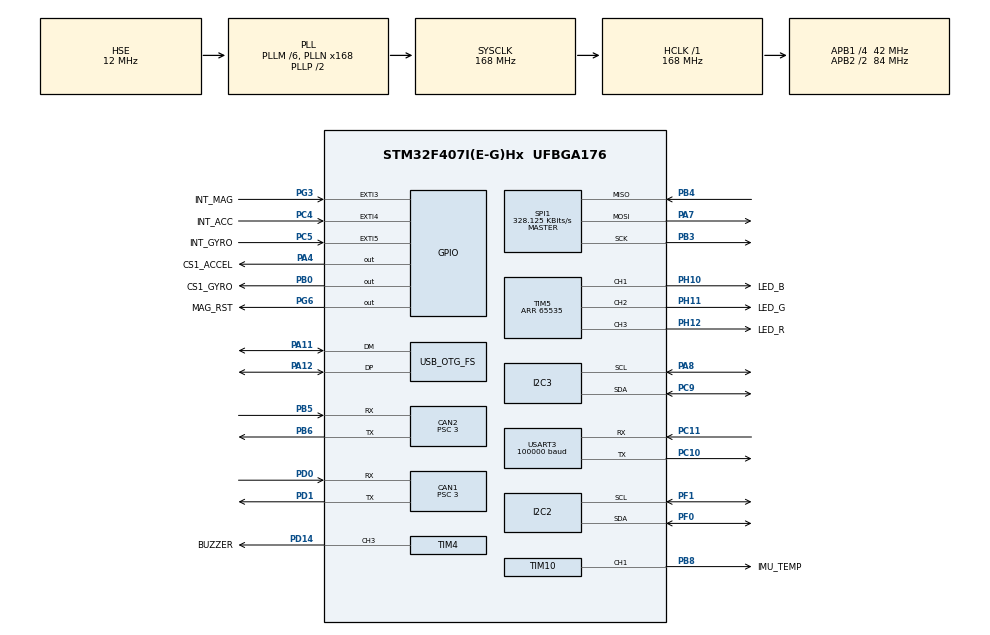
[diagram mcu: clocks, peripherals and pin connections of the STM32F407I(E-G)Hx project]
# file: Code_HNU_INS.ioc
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CAN1.BS1=CAN_BS1_10TQ
CAN1.BS2=CAN_BS2_3TQ
CAN1.CalculateBaudRate=1000000
CAN1.CalculateTimeBit=1000
CAN1.CalculateTimeQuantum=71.42857142857143
CAN1.Prescaler=3
CAN1.TXFP=ENABLE
CAN2.BS1=CAN_BS1_10TQ
CAN2.BS2=CAN_BS2_3TQ
CAN2.CalculateBaudRate=1000000
CAN2.CalculateTimeBit=1000
CAN2.CalculateTimeQuantum=71.42857142857143
CAN2.Prescaler=3
CAN2.TXFP=ENABLE
Dma.Request0=SPI1_RX
Dma.Request1=SPI1_TX
Dma.Request2=USART3_RX
Dma.SPI1_RX.0.Direction=DMA_PERIPH_TO_MEMORY
Dma.SPI1_RX.0.FIFOMode=DMA_FIFOMODE_DISABLE
Dma.SPI1_RX.0.Instance=DMA2_Stream2
Dma.SPI1_RX.0.MemDataAlignment=DMA_MDATAALIGN_BYTE
Dma.SPI1_RX.0.MemInc=DMA_MINC_ENABLE
Dma.SPI1_RX.0.Mode=DMA_NORMAL
Dma.SPI1_RX.0.PeriphDataAlignment=DMA_PDATAALIGN_BYTE
Dma.SPI1_RX.0.PeriphInc=DMA_PINC_DISABLE
Dma.SPI1_RX.0.Priority=DMA_PRIORITY_VERY_HIGH
Dma.SPI1_TX.1.Direction=DMA_MEMORY_TO_PERIPH
Dma.SPI1_TX.1.FIFOMode=DMA_FIFOMODE_DISABLE
Dma.SPI1_TX.1.Instance=DMA2_Stream3
Dma.SPI1_TX.1.MemDataAlignment=DMA_MDATAALIGN_BYTE
Dma.SPI1_TX.1.MemInc=DMA_MINC_ENABLE
Dma.SPI1_TX.1.Mode=DMA_NORMAL
Dma.SPI1_TX.1.PeriphDataAlignment=DMA_PDATAALIGN_BYTE
Dma.SPI1_TX.1.PeriphInc=DMA_PINC_DISABLE
Dma.SPI1_TX.1.Priority=DMA_PRIORITY_HIGH
Dma.USART3_RX.2.Direction=DMA_PERIPH_TO_MEMORY
Dma.USART3_RX.2.FIFOMode=DMA_FIFOMODE_DISABLE
Dma.USART3_RX.2.Instance=DMA1_Stream1
Dma.USART3_RX.2.MemDataAlignment=DMA_MDATAALIGN_BYTE
Dma.USART3_RX.2.MemInc=DMA_MINC_ENABLE
Dma.USART3_RX.2.Mode=DMA_NORMAL
Dma.USART3_RX.2.PeriphDataAlignment=DMA_PDATAALIGN_BYTE
Dma.USART3_RX.2.PeriphInc=DMA_PINC_DISABLE
Dma.USART3_RX.2.Priority=DMA_PRIORITY_LOW
FREERTOS.Tasks01=defaultTask,0,128,StartDefaultTask,Default,NULL,Dynamic,NULL,NULL
I2C2.I2C_Mode=I2C_Fast
I2C3.I2C_Mode=I2C_Fast
Mcu.Family=STM32F4
Mcu.Name=STM32F407I(E-G)Hx
Mcu.Package=UFBGA176
NVIC.CAN1_RX0_IRQn=true\:5\:0\:false\:false\:true\:true\:true\:true\:true
NVIC.CAN1_RX1_IRQn=true\:5\:0\:false\:false\:true\:true\:true\:true\:true
NVIC.CAN2_RX0_IRQn=true\:5\:0\:false\:false\:true\:true\:true\:true\:true
NVIC.CAN2_RX1_IRQn=true\:5\:0\:false\:false\:true\:true\:true\:true\:true
NVIC.DMA1_Stream1_IRQn=true\:5\:0\:false\:false\:true\:true\:false\:true\:true
NVIC.DMA2_Stream2_IRQn=true\:5\:0\:false\:false\:true\:true\:false\:true\:true
NVIC.DMA2_Stream3_IRQn=true\:5\:0\:false\:false\:true\:true\:false\:true\:true
NVIC.EXTI3_IRQn=true\:5\:0\:false\:false\:true\:true\:true\:true\:true
NVIC.EXTI4_IRQn=true\:0\:0\:false\:false\:true\:false\:true\:true\:true
NVIC.OTG_FS_IRQn=true\:5\:0\:false\:false\:true\:true\:true\:true\:true
NVIC.PriorityGroup=NVIC_PRIORITYGROUP_4
NVIC.SPI1_IRQn=true\:5\:0\:false\:false\:true\:true\:true\:true\:true
NVIC.USART3_IRQn=true\:5\:0\:false\:false\:true\:true\:true\:true\:true
PA11.Mode=Device_Only
PA11.Signal=USB_OTG_FS_DM
PA12.Mode=Device_Only
PA12.Signal=USB_OTG_FS_DP
PA13.Mode=Serial_Wire
PA13.Signal=SYS_JTMS-SWDIO
PA14.Mode=Serial_Wire
PA14.Signal=SYS_JTCK-SWCLK
PA4.GPIO_Label=CS1_ACCEL
PA4.GPIO_PuPd=GPIO_PULLUP
PA4.GPIO_Speed=GPIO_SPEED_FREQ_HIGH
PA4.Signal=GPIO_Output
PA7.GPIO_PuPd=GPIO_PULLUP
PA7.Mode=Full_Duplex_Master
PA7.Signal=SPI1_MOSI
PA8.Mode=I2C
PA8.Signal=I2C3_SCL
PB0.GPIO_Label=CS1_GYRO
PB0.GPIO_PuPd=GPIO_PULLUP
PB0.GPIO_Speed=GPIO_SPEED_FREQ_HIGH
PB0.Signal=GPIO_Output
PB3.GPIO_PuPd=GPIO_PULLUP
PB3.Mode=Full_Duplex_Master
PB3.Signal=SPI1_SCK
PB4.GPIO_PuPd=GPIO_PULLUP
PB4.Mode=Full_Duplex_Master
PB4.Signal=SPI1_MISO
PB5.Mode=CAN_Activate
PB5.Signal=CAN2_RX
PB6.Mode=CAN_Activate
PB6.Signal=CAN2_TX
PB8.GPIO_Label=IMU_TEMP
PB8.GPIO_Speed=GPIO_SPEED_FREQ_HIGH
PB8.Signal=S_TIM10_CH1
PC10.Mode=Asynchronous
PC10.Signal=USART3_TX
PC11.Mode=Asynchronous
PC11.Signal=USART3_RX
PC4.GPIO_Label=INT_ACC
PC4.Signal=GPXTI4
PC5.GPIO_Label=INT_GYRO
PC5.Signal=GPXTI5
PC9.Mode=I2C
PC9.Signal=I2C3_SDA
PD0.Mode=CAN_Activate
PD0.Signal=CAN1_RX
PD1.Mode=CAN_Activate
PD1.Signal=CAN1_TX
PD14.GPIO_Label=BUZZER
PD14.GPIO_Speed=GPIO_SPEED_FREQ_VERY_HIGH
PD14.Signal=S_TIM4_CH3
PF0.Mode=I2C
PF0.Signal=I2C2_SDA
PF1.Mode=I2C
PF1.Signal=I2C2_SCL
PG3.GPIO_Label=INT_MAG
PG3.GPIO_PuPd=GPIO_PULLUP
PG3.Signal=GPXTI3
PG6.GPIO_Label=MAG_RST
PG6.GPIO_PuPd=GPIO_PULLUP
PG6.GPIO_Speed=GPIO_SPEED_FREQ_LOW
PG6.Signal=GPIO_Output
PH0-OSC_IN.Mode=HSE-External-Oscillator
PH0-OSC_IN.Signal=RCC_OSC_IN
PH1-OSC_OUT.Mode=HSE-External-Oscillator
PH1-OSC_OUT.Signal=RCC_OSC_OUT
PH10.GPIO_Label=LED_B
PH10.GPIO_Speed=GPIO_SPEED_FREQ_HIGH
PH10.Signal=S_TIM5_CH1
PH11.GPIO_Label=LED_G
PH11.GPIO_Speed=GPIO_SPEED_FREQ_HIGH
PH11.Signal=S_TIM5_CH2
PH12.GPIO_Label=LED_R
PH12.GPIO_Speed=GPIO_SPEED_FREQ_HIGH
PH12.Signal=S_TIM5_CH3
ProjectManager.HeapSize=0x1000
ProjectManager.StackSize=0x400
ProjectManager.TargetToolchain=Makefile
RCC.48MHZClocksFreq_Value=48000000
RCC.AHBFreq_Value=168000000
RCC.APB1CLKDivider=RCC_HCLK_DIV4
RCC.APB1Freq_Value=42000000
RCC.APB1TimFreq_Value=84000000
RCC.APB2CLKDivider=RCC_HCLK_DIV2
RCC.APB2Freq_Value=84000000
RCC.APB2TimFreq_Value=168000000
RCC.CortexFreq_Value=168000000
RCC.HCLKFreq_Value=168000000
RCC.HSE_VALUE=12000000
RCC.HSI_VALUE=16000000
RCC.LSE_VALUE=32768
RCC.PLLM=6
RCC.PLLN=168
RCC.PLLQ=7
RCC.SYSCLKFreq_VALUE=168000000
RCC.SYSCLKSource=RCC_SYSCLKSOURCE_PLLCLK
RCC.VCOOutputFreq_Value=336000000
SH.S_TIM10_CH1.0=TIM10_CH1,PWM Generation1 CH1
SH.S_TIM4_CH3.0=TIM4_CH3,PWM Generation3 CH3
SH.S_TIM5_CH1.0=TIM5_CH1,PWM Generation1 CH1
SH.S_TIM5_CH2.0=TIM5_CH2,PWM Generation2 CH2
SH.S_TIM5_CH3.0=TIM5_CH3,PWM Generation3 CH3
SPI1.BaudRatePrescaler=SPI_BAUDRATEPRESCALER_256
SPI1.CLKPhase=SPI_PHASE_2EDGE
SPI1.CLKPolarity=SPI_POLARITY_HIGH
SPI1.CalculateBaudRate=328.125 KBits/s
SPI1.Direction=SPI_DIRECTION_2LINES
SPI1.Mode=SPI_MODE_MASTER
SPI1.VirtualType=VM_MASTER
STMicroelectronics.X-CUBE-ALGOBUILD.1.3.0.LibraryCcDSPOoLibraryJjDSPOoLibrary=true
TIM10.Channel=TIM_CHANNEL_1
TIM10.Period=5000-1
TIM10.Prescaler=167
TIM4.AutoReloadPreload=TIM_AUTORELOAD_PRELOAD_ENABLE
TIM4.Channel-PWM\ Generation3\ CH3=TIM_CHANNEL_3
TIM4.Period=21000
TIM4.Prescaler=0
TIM4.Pulse-PWM\ Generation3\ CH3=10500
TIM5.Channel-PWM\ Generation1\ CH1=TIM_CHANNEL_1
TIM5.Channel-PWM\ Generation2\ CH2=TIM_CHANNEL_2
TIM5.Channel-PWM\ Generation3\ CH3=TIM_CHANNEL_3
TIM5.Period=65535
USART3.BaudRate=100000
USART3.Parity=PARITY_EVEN
USART3.VirtualMode=VM_ASYNC
USART3.WordLength=WORDLENGTH_9B
USB_DEVICE.CLASS_NAME_FS=CDC
USB_DEVICE.PID_CDC_FS=202
USB_DEVICE.PRODUCT_STRING_CDC_FS=Vision Comm port
USB_DEVICE.VirtualMode-CDC_FS=Cdc
USB_DEVICE.VirtualModeFS=Cdc_FS
USB_OTG_FS.VirtualMode=Device_Only
VP_FREERTOS_VS_CMSIS_V1.Mode=CMSIS_V1
VP_STMicroelectronics.X-CUBE-ALGOBUILD_VS_DSPOoLibraryJjLibrary_1.3.0_1.3.0.Mode=DSPOoLibraryJjLibrary
VP_TIM10_VS_ClockSourceINT.Mode=Enable_Timer
VP_USB_DEVICE_VS_USB_DEVICE_CDC_FS.Mode=CDC_FS
board=custom

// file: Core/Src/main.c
/* USER CODE BEGIN Header */
/**
  ******************************************************************************
  * @file           : main.c
  * @brief          : Main program body
  ******************************************************************************
  * @attention
  *
  * Copyright (c) 2024 STMicroelectronics.
  * All rights reserved.
  *
  * This software is licensed under terms that can be found in the LICENSE file
  * in the root directory of this software component.
  * If no LICENSE file comes with this software, it is provided AS-IS.
  *
  ******************************************************************************
  */
/* USER CODE END Header */
#include "main.h"
#include "cmsis_os.h"
#include "can.h"
#include "dma.h"
#include "i2c.h"
#include "spi.h"
#include "tim.h"
#include "usart.h"
#include "usb_device.h"
#include "gpio.h"

/* USER CODE BEGIN Includes */
#include "bsp_init.h"
#include "bsp_buzzer.h"
#include "OLED.h"
#include "ins_task.h"

/* USER CODE END Includes */

/* USER CODE BEGIN PV */
INS_t *INS_DATA;

/* USER CODE END PV */

void SystemClock_Config(void);
void MX_FREERTOS_Init(void);

int main(void)
{

  /* MCU Configuration--------------------------------------------------------*/

  /* Reset of all peripherals, Initializes the Flash interface and the Systick. */
  HAL_Init();

  /* Configure the system clock */
  SystemClock_Config();

  /* Initialize all configured peripherals */
  MX_GPIO_Init();
  MX_DMA_Init();
  MX_I2C2_Init();
  MX_SPI1_Init();
  MX_I2C3_Init();
  MX_TIM10_Init();
  MX_USART3_UART_Init();
  MX_CAN1_Init();
  MX_CAN2_Init();
  MX_TIM4_Init();
  MX_TIM5_Init();
  /* USER CODE BEGIN 2 */

  // 关闭中断,防止在初始化过程中发生中断
  // 请不要在初始化过程中使用中断和延时函数！
  // 若必须,则只允许使用DWT_Delay()
  Buzzer_beep();

  __disable_irq();
  BSPInit();
  OLED_init();
  OLED_clear();
  OLED_show_string(0,0,"Initiating...");
  OLED_refresh_gram();
  INS_DATA = INS_Init(); // 初始化IMU 测试 不知道为什么要初始化非常久 将近30秒
  OLED_clear();
  __enable_irq();

  /* USER CODE END 2 */

  /* Call init function for freertos objects (in freertos.c) */
  MX_FREERTOS_Init();

  /* Start scheduler */
  osKernelStart();

  /* We should never get here as control is now taken by the scheduler */
  /* Infinite loop */
  while (1)
  {

  }
}

void SystemClock_Config(void)
{
  RCC_OscInitTypeDef RCC_OscInitStruct = {0};
  RCC_ClkInitTypeDef RCC_ClkInitStruct = {0};

  /** Configure the main internal regulator output voltage
  */
  __HAL_RCC_PWR_CLK_ENABLE();
  __HAL_PWR_VOLTAGESCALING_CONFIG(PWR_REGULATOR_VOLTAGE_SCALE1);

  /** Initializes the RCC Oscillators according to the specified parameters
  * in the RCC_OscInitTypeDef structure.
  */
  RCC_OscInitStruct.OscillatorType = RCC_OSCILLATORTYPE_HSE;
  RCC_OscInitStruct.HSEState = RCC_HSE_ON;
  RCC_OscInitStruct.PLL.PLLState = RCC_PLL_ON;
  RCC_OscInitStruct.PLL.PLLSource = RCC_PLLSOURCE_HSE;
  RCC_OscInitStruct.PLL.PLLM = 6;
  RCC_OscInitStruct.PLL.PLLN = 168;
  RCC_OscInitStruct.PLL.PLLP = RCC_PLLP_DIV2;
  RCC_OscInitStruct.PLL.PLLQ = 7;
  if (HAL_RCC_OscConfig(&RCC_OscInitStruct) != HAL_OK)
  {
    Error_Handler();
  }

  /** Initializes the CPU, AHB and APB buses clocks
  */
  RCC_ClkInitStruct.ClockType = RCC_CLOCKTYPE_HCLK|RCC_CLOCKTYPE_SYSCLK
                              |RCC_CLOCKTYPE_PCLK1|RCC_CLOCKTYPE_PCLK2;
  RCC_ClkInitStruct.SYSCLKSource = RCC_SYSCLKSOURCE_PLLCLK;
  RCC_ClkInitStruct.AHBCLKDivider = RCC_SYSCLK_DIV1;
  RCC_ClkInitStruct.APB1CLKDivider = RCC_HCLK_DIV4;
  RCC_ClkInitStruct.APB2CLKDivider = RCC_HCLK_DIV2;

  if (HAL_RCC_ClockConfig(&RCC_ClkInitStruct, FLASH_LATENCY_5) != HAL_OK)
  {
    Error_Handler();
  }
}

void Error_Handler(void)
{
  __disable_irq();
  while (1)
  {
  }
}

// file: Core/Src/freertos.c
/* USER CODE BEGIN Header */
/**
  ******************************************************************************
  * File Name          : freertos.c
  * Description        : Code for freertos applications
  ******************************************************************************
  * @attention
  *
  * Copyright (c) 2024 STMicroelectronics.
  * All rights reserved.
  *
  * This software is licensed under terms that can be found in the LICENSE file
  * in the root directory of this software component.
  * If no LICENSE file comes with this software, it is provided AS-IS.
  *
  ******************************************************************************
  */
/* USER CODE END Header */

#include "FreeRTOS.h"
#include "task.h"
#include "main.h"
#include "cmsis_os.h"

/* USER CODE BEGIN Includes */
#include "OLED.h"
#include "ins_task.h"
/* USER CODE END Includes */

/* USER CODE BEGIN Variables */
osThreadId insTaskHandle; // 手动添加

/* USER CODE END Variables */
osThreadId defaultTaskHandle;

/* USER CODE BEGIN FunctionPrototypes */
void StartINSTASK(void const *argument); // 手动添加

/* USER CODE END FunctionPrototypes */

void StartDefaultTask(void const * argument);

extern void MX_USB_DEVICE_Init(void);
void MX_FREERTOS_Init(void); /* (MISRA C 2004 rule 8.1) */

/* GetIdleTaskMemory prototype (linked to static allocation support) */
void vApplicationGetIdleTaskMemory( StaticTask_t **ppxIdleTaskTCBBuffer, StackType_t **ppxIdleTaskStackBuffer, uint32_t *pulIdleTaskStackSize );

/* USER CODE BEGIN GET_IDLE_TASK_MEMORY */
static StaticTask_t xIdleTaskTCBBuffer;
static StackType_t xIdleStack[configMINIMAL_STACK_SIZE];

void vApplicationGetIdleTaskMemory( StaticTask_t **ppxIdleTaskTCBBuffer, StackType_t **ppxIdleTaskStackBuffer, uint32_t *pulIdleTaskStackSize )
{
  *ppxIdleTaskTCBBuffer = &xIdleTaskTCBBuffer;
  *ppxIdleTaskStackBuffer = &xIdleStack[0];
  *pulIdleTaskStackSize = configMINIMAL_STACK_SIZE;
  /* place for user code */
}
/* USER CODE END GET_IDLE_TASK_MEMORY */

void MX_FREERTOS_Init(void) {

  /* Create the thread(s) */
  /* definition and creation of defaultTask */
  osThreadDef(defaultTask, StartDefaultTask, osPriorityNormal, 0, 128);
  defaultTaskHandle = osThreadCreate(osThread(defaultTask), NULL);

  /* USER CODE BEGIN RTOS_THREADS */
  /* add threads, ... */
  osThreadDef(instask, StartINSTASK, osPriorityNormal, 0, 1024); // 手动添加
  insTaskHandle = osThreadCreate(osThread(instask), NULL);
  /* USER CODE END RTOS_THREADS */

}

void StartDefaultTask(void const * argument)
{
  /* init code for USB_DEVICE */
  MX_USB_DEVICE_Init();
  /* USER CODE BEGIN StartDefaultTask */

  extern INS_t *INS_DATA;

  uint8_t i = 0;
  uint8_t LINE = 4;
  OLED_show_string(i,0,"YAW"); i++;
  OLED_show_string(i,0,"PIT"); i++;
  OLED_show_string(i,0,"ROL"); i++;
  i = 0;
  /* Infinite loop */
  for(;;)
  {
    OLED_show_signednum(i, LINE, INS_DATA->Yaw,3); i++;
    OLED_show_signednum(i, LINE, INS_DATA->Pitch,3); i++;
    OLED_show_signednum(i, LINE, INS_DATA->Roll,3); i++;
    OLED_refresh_gram();
    i=0;
    osDelay(1);
  }
  /* USER CODE END StartDefaultTask */
}

/* USER CODE BEGIN Application */
void StartINSTASK(void const *argument)
{
  while (1)
  {
    // 1kHz
    INS_Task(); // 存在问题，发现 BMI088_Read 函数失效
    osDelay(1);
  }
}
/* USER CODE END Application */
